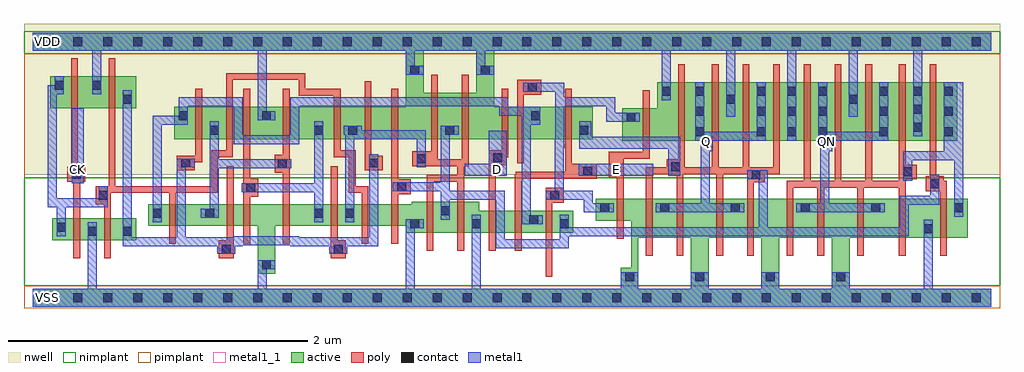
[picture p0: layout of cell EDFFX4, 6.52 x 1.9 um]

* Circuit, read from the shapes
.subckt EDFFX4 CK D E Q QN VDD VSS
M1 VSS CK n1 VSS nfet w=0.145u l=0.045u
M2 n2 n1 VSS VSS nfet w=0.145u l=0.045u
M3 n3 n1 n4 VSS nfet w=0.145u l=0.045u
M4 n5 n2 n3 VSS nfet w=0.145u l=0.045u
M5 VSS n6 n5 VSS nfet w=0.145u l=0.045u
M6 n6 n3 VSS VSS nfet w=0.145u l=0.045u
M7 n7 n2 n6 VSS nfet w=0.145u l=0.045u
M8 n8 n1 n7 VSS nfet w=0.145u l=0.045u
M9 VSS n9 n8 VSS nfet w=0.145u l=0.045u
M10 n9 n7 VSS VSS nfet w=0.205u l=0.045u m=2
M11 n10 D VSS VSS nfet w=0.145u l=0.045u
M12 n4 E n10 VSS nfet w=0.145u l=0.045u
M13 n9 n11 n4 VSS nfet w=0.145u l=0.045u
M14 VSS E n11 VSS nfet w=0.145u l=0.045u
M15 Q n9 VSS VSS nfet w=0.26u l=0.045u m=4
M16 QN n12 VSS VSS nfet w=0.26u l=0.045u m=4
M17 n12 n9 VSS VSS nfet w=0.26u l=0.045u
M18 VDD CK n1 VDD pfet w=0.215u l=0.045u
M19 n2 n1 VDD VDD pfet w=0.215u l=0.045u
M20 n3 n2 n4 VDD pfet w=0.215u l=0.045u
M21 n13 n1 n3 VDD pfet w=0.215u l=0.045u
M22 VDD n6 n13 VDD pfet w=0.215u l=0.045u
M23 n6 n3 VDD VDD pfet w=0.215u l=0.045u
M24 n7 n1 n6 VDD pfet w=0.215u l=0.045u
M25 n14 n2 n7 VDD pfet w=0.215u l=0.045u
M26 VDD n9 n14 VDD pfet w=0.215u l=0.045u
M27 n9 n7 VDD VDD pfet w=0.31u l=0.045u m=2
M28 n15 D VDD VDD pfet w=0.215u l=0.045u
M29 n4 n11 n15 VDD pfet w=0.215u l=0.045u
M30 n9 E n4 VDD pfet w=0.215u l=0.045u
M31 VDD E n11 VDD pfet w=0.215u l=0.045u
M32 Q n9 VDD VDD pfet w=0.39u l=0.045u m=4
M33 QN n12 VDD VDD pfet w=0.39u l=0.045u m=4
M34 n12 n9 VDD VDD pfet w=0.39u l=0.045u
.ends

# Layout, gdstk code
import gdstk
lib = gdstk.Library(unit=1e-6, precision=5e-10)
def R(c, l, rs):  # rectangles x0, y0, x1, y1
    for r in rs: c.add(gdstk.rectangle(r[:2], r[2:], *l))
def A(c, l, x, y, w, h, nx, ny, dx, dy):  # array of equal rectangles
    R(c, l, [(x+i*dx, y+j*dy, x+i*dx+w, y+j*dy+h) for i in range(nx) for j in range(ny)])
def P(c, l, *ps):  # polygons
    for p in ps: c.add(gdstk.Polygon(p, *l))
active = (1, 0)
nwell = (2, 0)
poly = (3, 0)
nimplant = (4, 0)
pimplant = (5, 0)
contact = (6, 0)
metal1 = (7, 0)
metal1_1 = (7, 1)

edffx4 = lib.new_cell('EDFFX4')
R(edffx4, active, [(0.13,0.385,0.69,0.53), (0.115,1.265,0.69,1.48)])
P(edffx4, active, [(0,1.77),(6.4,1.77),(6.4,1.65),(3.08,1.65),(3.08,1.275),(3.74,1.275),(3.74,1.06),(0.945,1.06),(0.945,1.275),(2.49,1.275),(2.49,1.65),(2.61,1.65),(2.61,1.37),(2.96,1.37),(2.96,1.65),(0,1.65)],
  [(4.17,1.44),(6.175,1.44),(6.175,1.05),(3.935,1.05),(3.935,1.265),(4.17,1.265)],
  [(2.53,0.64),(2.98,0.64),(2.98,0.58),(3.61,0.58),(3.61,0.435),(2.49,0.435),(2.49,0.48),(1.62,0.48),(1.62,0.16),(1.5,0.16),(1.5,0.48),(0.77,0.48),(0.77,0.625),(2.53,0.625)],
  [(3.76,0.66),(6.245,0.66),(6.245,0.4),(5.455,0.4),(5.455,0.06),(6.4,0.06),(6.4,-0.06),(0,-0.06),(0,0.06),(3.925,0.06),(3.925,0.2),(3.995,0.2),(3.995,0.4),(4.045,0.4),(4.045,0.06),(4.395,0.06),(4.395,0.4),(4.515,0.4),(4.515,0.06),(4.865,0.06),(4.865,0.4),(4.985,0.4),(4.985,0.06),(5.335,0.06),(5.335,0.4),(3.995,0.4),(3.995,0.515),(3.76,0.515)])
R(edffx4, nwell, [(-0.06,0.82,6.46,1.83)])
P(edffx4, poly, [(0.505,1.6),(0.55,1.6),(0.55,0.745),(1.19,0.745),(1.19,0.985),(1.29,0.985),(1.29,1.5),(1.82,1.5),(1.82,1.395),(2.055,1.395),(2.055,0.985),(2.155,0.985),(2.155,0.745),(2.24,0.745),(2.24,0.36),(2.195,0.36),(2.195,0.7),(2.11,0.7),(2.11,0.94),(2.01,0.94),(2.01,1.35),(1.775,1.35),(1.775,1.455),(1.335,1.455),(1.335,0.94),(1.235,0.94),(1.235,0.7),(0.955,0.7),(0.955,0.36),(0.91,0.36),(0.91,0.7),(0.52,0.7),(0.52,0.265),(0.475,0.265),(0.475,0.625),(0.42,0.625),(0.42,0.745),(0.505,0.745)],
  [(0.255,1.6),(0.3,1.6),(0.3,0.875),(0.35,0.875),(0.35,0.775),(0.315,0.775),(0.315,0.265),(0.27,0.265),(0.27,0.775),(0.23,0.775),(0.23,0.875),(0.255,0.875)],
  [(1.085,1.395),(1.13,1.395),(1.13,0.905),(1.08,0.905),(1.08,0.85),(0.96,0.85),(0.96,0.95),(1.085,0.95)],
  [(1.405,1.395),(1.45,1.395),(1.45,0.795),(1.505,0.795),(1.505,0.675),(1.45,0.675),(1.45,0.36),(1.405,0.36)],
  [(1.67,1.395),(1.715,1.395),(1.715,0.36),(1.67,0.36),(1.67,0.835),(1.615,0.835),(1.615,0.955),(1.67,0.955)],
  [(2.215,1.445),(2.26,1.445),(2.26,0.95),(2.335,0.95),(2.335,0.85),(2.215,0.85)],
  [(2.395,1.395),(2.44,1.395),(2.44,0.79),(2.525,0.79),(2.525,0.69),(2.44,0.69),(2.44,0.36),(2.395,0.36)],
  [(2.66,1.49),(2.705,1.49),(2.705,0.925),(2.865,0.925),(2.865,1.49),(2.91,1.49),(2.91,0.88),(2.88,0.88),(2.88,0.315),(2.835,0.315),(2.835,0.775),(2.675,0.775),(2.675,0.315),(2.63,0.315),(2.63,0.82),(2.835,0.82),(2.835,0.88),(2.535,0.88),(2.535,0.98),(2.66,0.98)],
  [(3.235,1.455),(3.395,1.455),(3.395,1.355),(3.28,1.355),(3.28,0.9),(3.235,0.9)],
  [(3.13,1.395),(3.175,1.395),(3.175,0.94),(3.165,0.94),(3.165,0.885),(3.09,0.885),(3.09,0.315),(3.045,0.315),(3.045,0.985),(3.13,0.985)],
  [(4.31,1.56),(4.355,1.56),(4.355,0.87),(4.535,0.87),(4.535,1.56),(4.58,1.56),(4.58,0.87),(4.74,0.87),(4.74,1.56),(4.785,1.56),(4.785,0.87),(4.945,0.87),(4.945,1.56),(4.99,1.56),(4.99,0.825),(4.89,0.825),(4.89,0.77),(4.815,0.77),(4.815,0.28),(4.77,0.28),(4.77,0.825),(4.61,0.825),(4.61,0.28),(4.565,0.28),(4.565,0.825),(4.345,0.825),(4.345,0.28),(4.3,0.28),(4.3,0.825),(4.14,0.825),(4.14,0.28),(4.095,0.28),(4.095,0.87),(4.235,0.87),(4.235,0.925),(4.31,0.925)],
  [(5.15,1.56),(5.195,1.56),(5.195,0.78),(5.355,0.78),(5.355,1.56),(5.4,1.56),(5.4,0.78),(5.56,0.78),(5.56,1.56),(5.605,1.56),(5.605,0.78),(5.785,0.78),(5.785,1.56),(5.83,1.56),(5.83,0.89),(5.905,0.89),(5.905,0.79),(5.83,0.79),(5.83,0.28),(5.785,0.28),(5.785,0.735),(5.55,0.735),(5.55,0.28),(5.505,0.28),(5.505,0.735),(5.285,0.735),(5.285,0.28),(5.24,0.28),(5.24,0.735),(5.08,0.735),(5.08,0.28),(5.035,0.28),(5.035,0.78),(5.15,0.78)],
  [(5.99,1.56),(6.035,1.56),(6.035,0.81),(6.085,0.81),(6.085,0.78),(6.105,0.78),(6.105,0.28),(6.06,0.28),(6.06,0.71),(5.965,0.71),(5.965,0.81),(5.99,0.81)],
  [(3.555,1.395),(3.6,1.395),(3.6,0.895),(3.765,0.895),(3.765,0.795),(3.27,0.795),(3.27,0.78),(3.265,0.78),(3.265,0.315),(3.22,0.315),(3.22,0.825),(3.225,0.825),(3.225,0.84),(3.555,0.84)],
  [(4.075,1.385),(4.12,1.385),(4.12,0.93),(3.945,0.93),(3.945,0.395),(3.9,0.395),(3.9,0.805),(3.845,0.805),(3.845,0.975),(4.075,0.975)],
  [(1.295,0.88),(1.34,0.88),(1.34,0.265),(1.24,0.265),(1.24,0.385),(1.295,0.385)],
  [(1.99,0.88),(2.035,0.88),(2.035,0.385),(2.09,0.385),(2.09,0.265),(1.99,0.265)],
  [(3.425,0.735),(3.545,0.735),(3.545,0.635),(3.47,0.635),(3.47,0.14),(3.425,0.14)])
R(edffx4, nimplant, [(-0.06,0.08,6.46,0.8), (-0.06,1.63,6.46,1.78)])
R(edffx4, pimplant, [(-0.06,-0.07,6.46,0.08), (-0.06,0.8,6.46,1.63)])
A(edffx4, contact, 0.07, -0.03, 0.06, 0.06, 32, 2, 0.2, 1.71)
A(edffx4, contact, 3.955, 0.11, 0.06, 0.06, 4, 1, 0.47, 0)
A(edffx4, contact, 4.19, 0.57, 0.06, 0.06, 4, 1, 0.47, 0)
A(edffx4, contact, 4.425, 1.08, 0.06, 0.06, 1, 3, 0, 0.135)
A(edffx4, contact, 4.835, 1.08, 0.06, 0.06, 3, 3, 0.205, 0.135)
A(edffx4, contact, 5.655, 1.08, 0.06, 0.06, 1, 3, 0, 0.135)
A(edffx4, contact, 6.085, 1.08, 0.06, 0.06, 1, 3, 0, 0.135)
A(edffx4, contact, 5.88, 1.11, 0.06, 0.06, 1, 3, 0, 0.12)
R(edffx4, contact, [(1.53,0.19,1.59,0.25), (1.26,0.295,1.32,0.355), (2.01,0.295,2.07,0.355), (0.365,0.415,0.425,0.475), (0.6,0.415,0.66,0.475), (5.95,0.43,6.01,0.49), (0.16,0.44,0.22,0.5), (2.52,0.465,2.58,0.525), (2.93,0.465,2.99,0.525), (3.52,0.465,3.58,0.525), (3.315,0.49,3.375,0.55), (0.8,0.535,0.86,0.595), (1.15,0.535,1.21,0.595), (1.88,0.535,1.94,0.595), (2.085,0.535,2.145,0.595), (2.725,0.55,2.785,0.61), (3.79,0.57,3.85,0.63), (6.155,0.57,6.215,0.63), (0.44,0.655,0.5,0.715), (3.455,0.655,3.515,0.715), (1.425,0.705,1.485,0.765), (2.435,0.71,2.495,0.77), (5.995,0.73,6.055,0.79), (4.8,0.79,4.86,0.85), (0.26,0.795,0.32,0.855), (5.815,0.81,5.875,0.87), (3.675,0.815,3.735,0.875), (3.865,0.835,3.925,0.895), (4.265,0.845,4.325,0.905), (1.635,0.865,1.695,0.925), (0.99,0.87,1.05,0.93), (2.245,0.87,2.305,0.93), (2.565,0.9,2.625,0.96), (3.075,0.905,3.135,0.965), (1.18,1.09,1.24,1.15), (1.88,1.09,1.94,1.15), (2.105,1.09,2.165,1.15), (2.755,1.09,2.815,1.15), (3.65,1.09,3.71,1.15), (3.965,1.175,4.025,1.235), (0.975,1.185,1.035,1.245), (1.53,1.185,1.59,1.245), (3.33,1.185,3.39,1.245), (0.6,1.295,0.66,1.355), (4.63,1.295,4.69,1.355), (5.45,1.295,5.51,1.355), (4.2,1.35,4.26,1.41), (3.305,1.375,3.365,1.435), (0.145,1.39,0.205,1.45), (0.395,1.39,0.455,1.45), (2.52,1.49,2.58,1.55), (2.99,1.49,3.05,1.55)])
R(edffx4, metal1, [(0.26,0.765,0.34,1.265), (3.645,0.815,4.145,0.895)])
P(edffx4, metal1, [(0,1.77),(6.4,1.77),(6.4,1.65),(5.94,1.65),(5.94,1.08),(5.88,1.08),(5.88,1.65),(5.51,1.65),(5.51,1.21),(5.45,1.21),(5.45,1.65),(5.1,1.65),(5.1,1.05),(5.04,1.05),(5.04,1.65),(4.69,1.65),(4.69,1.21),(4.63,1.21),(4.63,1.65),(4.26,1.65),(4.26,1.32),(4.2,1.32),(4.2,1.65),(3.02,1.65),(3.02,1.55),(3.08,1.55),(3.08,1.49),(2.96,1.49),(2.96,1.65),(2.55,1.65),(2.55,1.55),(2.61,1.55),(2.61,1.49),(2.49,1.49),(2.49,1.65),(1.56,1.65),(1.56,1.245),(1.62,1.245),(1.62,1.185),(1.5,1.185),(1.5,1.65),(0.455,1.65),(0.455,1.36),(0.395,1.36),(0.395,1.65),(0,1.65)],
  [(0.145,1.48),(0.205,1.48),(0.205,1.36),(0.16,1.36),(0.16,0.665),(0.44,0.665),(0.44,0.745),(0.5,0.745),(0.5,0.605),(0.22,0.605),(0.22,0.41),(0.16,0.41),(0.16,0.605),(0.1,0.605),(0.1,1.42),(0.145,1.42)],
  [(0.975,1.34),(1.4,1.34),(1.4,1.085),(1.72,1.085),(1.72,1.34),(3.175,1.34),(3.175,1.275),(3.39,1.275),(3.39,1.155),(3.325,1.155),(3.325,0.55),(3.405,0.55),(3.405,0.49),(3.265,0.49),(3.265,1.215),(3.115,1.215),(3.115,1.28),(1.78,1.28),(1.78,1.025),(1.34,1.025),(1.34,1.28),(1.035,1.28),(1.035,1.155),(0.86,1.155),(0.86,0.505),(0.8,0.505),(0.8,1.215),(0.975,1.215)],
  [(0.6,1.385),(0.66,1.385),(0.66,0.405),(0.96,0.405),(0.96,0.93),(1.08,0.93),(1.08,0.87),(1.02,0.87),(1.02,0.405),(1.34,0.405),(1.34,0.41),(1.78,0.41),(1.78,0.405),(2.245,0.405),(2.245,0.96),(2.305,0.96),(2.305,0.345),(2.1,0.345),(2.1,0.295),(1.98,0.295),(1.98,0.345),(1.72,0.345),(1.72,0.35),(1.4,0.35),(1.4,0.345),(1.35,0.345),(1.35,0.295),(1.23,0.295),(1.23,0.345),(0.6,0.345)],
  [(0.365,0.505),(0.425,0.505),(0.425,0.06),(1.5,0.06),(1.5,0.25),(1.62,0.25),(1.62,0.19),(1.56,0.19),(1.56,0.06),(2.49,0.06),(2.49,0.525),(2.61,0.525),(2.61,0.465),(2.55,0.465),(2.55,0.06),(2.93,0.06),(2.93,0.555),(2.99,0.555),(2.99,0.06),(3.925,0.06),(3.925,0.17),(4.045,0.17),(4.045,0.06),(4.395,0.06),(4.395,0.17),(4.515,0.17),(4.515,0.06),(4.865,0.06),(4.865,0.17),(4.985,0.17),(4.985,0.06),(5.335,0.06),(5.335,0.17),(5.455,0.17),(5.455,0.06),(5.95,0.06),(5.95,0.52),(6.01,0.52),(6.01,0.06),(6.4,0.06),(6.4,-0.06),(0,-0.06),(0,0.06),(0.365,0.06)],
  [(1.18,1.18),(1.24,1.18),(1.24,0.925),(1.725,0.925),(1.725,0.865),(1.24,0.865),(1.24,0.535),(1.12,0.535),(1.12,0.595),(1.18,0.595)],
  [(3.275,1.435),(3.55,1.435),(3.55,1.34),(3.89,1.34),(3.89,1.235),(4.055,1.235),(4.055,1.175),(3.83,1.175),(3.83,1.28),(3.55,1.28),(3.55,0.995),(3.545,0.995),(3.545,0.715),(3.74,0.715),(3.74,0.63),(3.88,0.63),(3.88,0.57),(3.68,0.57),(3.68,0.655),(3.425,0.655),(3.425,0.715),(3.485,0.715),(3.485,1.055),(3.49,1.055),(3.49,1.375),(3.275,1.375)],
  [(1.88,1.18),(1.94,1.18),(1.94,0.505),(1.88,0.505),(1.88,0.705),(1.395,0.705),(1.395,0.765),(1.88,0.765)],
  [(2.075,1.15),(2.195,1.15),(2.195,1.12),(2.625,1.12),(2.625,0.87),(2.565,0.87),(2.565,1.06),(2.145,1.06),(2.145,0.505),(2.085,0.505),(2.085,1.09),(2.075,1.09)],
  [(2.725,1.15),(2.845,1.15),(2.845,1.09),(2.785,1.09),(2.785,0.715),(3.15,0.715),(3.15,0.39),(3.52,0.39),(3.52,0.555),(3.58,0.555),(3.58,0.47),(4.85,0.47),(4.85,0.79),(4.77,0.79),(4.77,0.85),(4.91,0.85),(4.91,0.47),(5.79,0.47),(5.79,0.68),(5.995,0.68),(5.995,0.82),(6.055,0.82),(6.055,0.62),(5.85,0.62),(5.85,0.41),(3.58,0.41),(3.58,0.33),(3.09,0.33),(3.09,0.655),(2.785,0.655),(2.785,0.52),(2.725,0.52),(2.725,0.71),(2.405,0.71),(2.405,0.77),(2.725,0.77)],
  [(3.045,1.115),(3.165,1.115),(3.165,0.815),(2.885,0.815),(2.885,0.895),(3.045,0.895)],
  [(3.65,1.18),(3.73,1.18),(3.73,1.075),(4.325,1.075),(4.325,0.815),(4.245,0.815),(4.245,0.995),(3.65,0.995)],
  [(4.425,1.44),(4.485,1.44),(4.485,1.11),(4.835,1.11),(4.835,1.44),(4.895,1.44),(4.895,1.05),(4.54,1.05),(4.54,0.98),(4.52,0.98),(4.52,0.63),(4.75,0.63),(4.75,0.57),(4.16,0.57),(4.16,0.63),(4.46,0.63),(4.46,1.05),(4.425,1.05)],
  [(5.245,1.44),(5.305,1.44),(5.305,1.11),(5.655,1.11),(5.655,1.44),(5.715,1.44),(5.715,1.05),(5.34,1.05),(5.34,0.98),(5.32,0.98),(5.32,0.63),(5.69,0.63),(5.69,0.57),(5.1,0.57),(5.1,0.63),(5.26,0.63),(5.26,1.05),(5.245,1.05)],
  [(6.085,1.44),(6.215,1.44),(6.215,0.54),(6.155,0.54),(6.155,0.92),(5.875,0.92),(5.875,0.78),(5.815,0.78),(5.815,0.98),(6.085,0.98)])
R(edffx4, metal1_1, [(0.06,-0.04,0.14,0.04), (0.26,0.815,0.34,0.895), (3.06,0.815,3.14,0.895), (3.86,0.815,3.94,0.895), (4.46,1.005,4.54,1.085), (5.26,1.005,5.34,1.085), (0.06,1.67,0.14,1.75)])
edffx4.add(gdstk.Label('QN', (5.3,1.045), layer=7, texttype=1))
edffx4.add(gdstk.Label('Q', (4.5,1.045), layer=7, texttype=1))
edffx4.add(gdstk.Label('E', (3.9,0.855), layer=7, texttype=1))
edffx4.add(gdstk.Label('D', (3.1,0.855), layer=7, texttype=1))
edffx4.add(gdstk.Label('CK', (0.3,0.855), layer=7, texttype=1))
edffx4.add(gdstk.Label('VDD', (0.1,1.71), layer=7, texttype=1))
edffx4.add(gdstk.Label('VSS', (0.1,0), layer=7, texttype=1))
edffx4.add(gdstk.Label('EDFFX4', (0,0), layer=63, texttype=0))

lib.write_gds('EDFFX4.gds')
